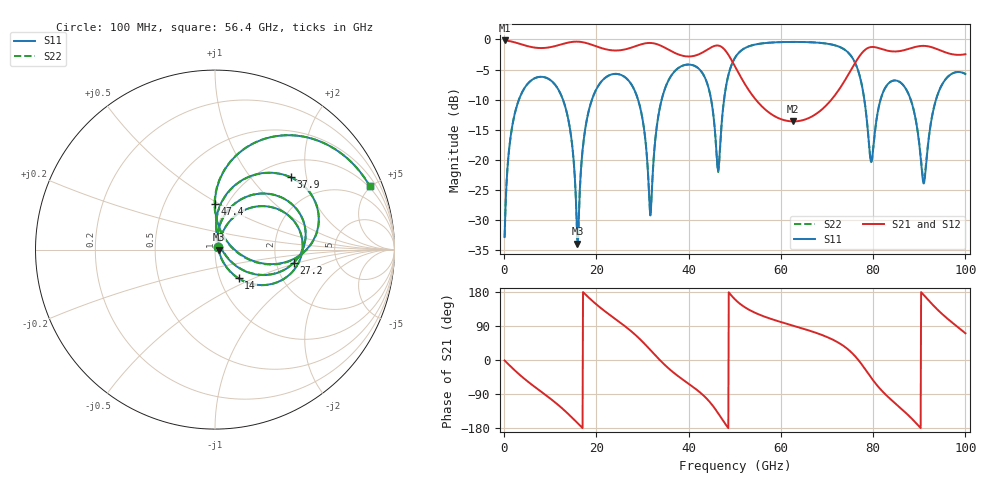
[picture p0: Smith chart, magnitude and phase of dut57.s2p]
! Touchstone file exported from HFSS 2026.1.0
!  File:  C:/ffzhzh/LocalFiles/Ansys_Project_Files/temp_train_TSV_RDL_57_1783446748_41684.aedt
!  Generated:  02:02:56 AM Jul  8, 2026
!  Design:  TSV_RDL
!  Project:  temp_train_TSV_RDL_57_1783446748_41684
! Variables:
!  h_bsmrdl = 2.03um
!  h_ox = 20um
!  h_rdl = 5um
!  h_sub = 72.25um
!  h_tmrdl = 3.21um
!  h_tsv = 72.25um
!  h_via = 3um
!  l_bsmrdl = 205.54um
!  l_sub = 3328.33um
!  l_tmrdl = 545.37um
!  m_sub = 200um
!  pitch = 49.98um
!  r_tsv = 14.82um
!  s_tmrdl = 10um
!  w_bsmrdl = 26.78um
!  w_sub = 500um
!  w_tmrdl = 16.63um
!  x_tsv_center1 = 553.685um
!  x_tsv_center2 = 786.005um
!  x_tsv_center3 = 1348.005um
!  x_tsv_center4 = 1580.325um
!  x_tsv_center5 = 2142.325um
!  x_tsv_center6 = 2374.645um
# GHz S MA R 50.000000
! Terminal data exported
! Port[1] = TM_RDL1_1_T1
! Port[2] = TM_RDL5_1_T1
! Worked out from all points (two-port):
!   1000 points, 100 MHz to 100 GHz, reference 50 ohm
!   highest |S21| = -0.17 dB at 100 MHz (marker M1); lowest = -13.6 dB at 62.7 GHz (marker M2)
!   |S21| within 3 dB of the highest: start of sweep to 49.1 GHz; 76.69 GHz to end of sweep
!   lowest |S11| = -33.9 dB at 15.9 GHz (marker M3), VSWR 1.04, Z = 52.1 - j0.00963 ohm
!   |S11| at or under -10 dB: 12.75 GHz to 19.04 GHz (6.297 GHz wide, 39.6 % of centre); 29.02 GHz to 34.15 GHz (5.13 GHz wide, 16.2 % of centre); 88.14 GHz to 93.63 GHz (5.495 GHz wide, 6.05 % of centre) (the widest 3 of 6)
!   |S22| runs from -34.4 to -0.4 dB; largest |S21 - S12| = 9.3e-12
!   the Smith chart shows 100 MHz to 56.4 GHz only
!   S11 on the Smith chart (normalised r, x): 100 MHz: 1.04, +0.02; 14 GHz: 1.23, -0.41; 27.2 GHz: 2.50, -0.46; 37.9 GHz: 1.33, +1.62; 47.4 GHz: 0.88, +0.48; 56.4 GHz: 0.92, +4.91
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0.1  0.02277 31.1  0.9807 -1.3  0.9807 -1.3  0.02277 31.1
! Gamma 0 0 0 0
! Port Impedance 50 0 50 0
4.5  0.3992 36.0  0.8925 -50.7  0.8925 -50.7  0.3992 36.0
14  0.2077 -50.5  0.9433 -143.6  0.9433 -143.6  0.2076 -50.8
15.9  0.02011 -0.3  0.9588 -166.3  0.9588 -166.3  0.01915 -0.9
16.8  0.09836 79.7  0.9518 -177.2  0.9518 -177.2  0.09816 80.2
20.3  0.4052 50.4  0.8672 143.6  0.8672 143.6  0.4052 50.5
27.2  0.4443 -9.7  0.8461 79.4  0.8461 79.4  0.4443 -9.5
31.7  0.0344 22.9  0.9349 26.5  0.9349 26.5  0.03578 23.2
33.4  0.2275 84.8  0.906 4.4  0.906 4.4  0.2279 84.5
37.9  0.5835 43.7  0.7475 -44.3  0.7475 -44.3  0.5837 43.5
44.4  0.385 -11.0  0.8382 -108.3  0.8382 -108.3  0.385 -11.4
46.3  0.08423 22.9  0.8904 -138.8  0.8904 -138.8  0.08205 22.3
47.4  0.2551 90.1  0.852 -159.0  0.852 -159.0  0.2542 90.6
50.1  0.7095 62.6  0.5917 159.3  0.5917 159.3  0.7093 62.7
56.4  0.9317 22.3  0.266 114.7  0.266 114.7  0.9317 22.3
62.7  0.9534 0.1  0.2083 90.4  0.2083 90.4  0.9536 0.0
66.7  0.9464 -13.5  0.2287 75.5  0.2287 75.5  0.9466 -13.6
77.9  0.3527 -89.8  0.797 -17.8  0.797 -17.8  0.3531 -89.8
79.6  0.09579 -40.6  0.865 -47.1  0.865 -47.1  0.09616 -40.8
83.4  0.4337 -12.8  0.8023 -99.3  0.8023 -99.3  0.4336 -12.8
90.8  0.06665 -25.5  0.8843 173.7  0.8843 173.7  0.07128 -24.4
100  0.5162 -17.1  0.7537 70.6  0.7537 70.6  0.5161 -18.1
